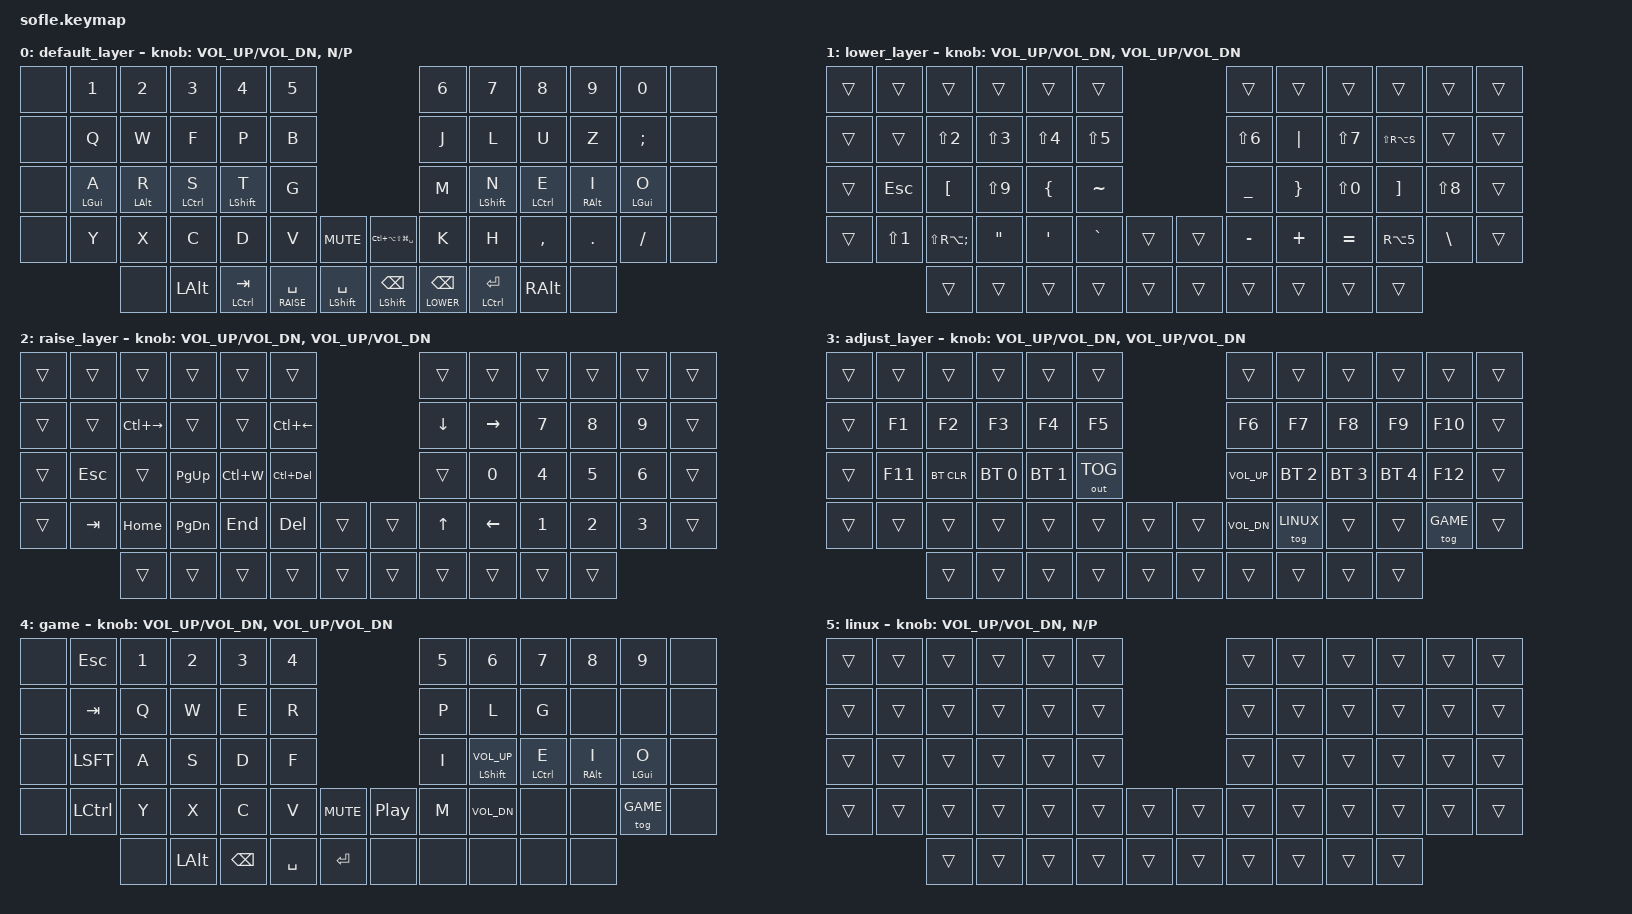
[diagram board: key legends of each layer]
/*
 * Copyright (c) 2020 The ZMK Contributors
 *
 * SPDX-License-Identifier: MIT
 */

#include <behaviors.dtsi>
#include <dt-bindings/zmk/keys.h>
#include <dt-bindings/zmk/outputs.h>
#include <dt-bindings/zmk/bt.h>

#define DEFAULT 0
#define LOWER 1
#define RAISE 2
#define ADJUST 3
#define GAME 4
#define LINUX 5

#define UMLAUT_AQ <25 13>
#define UMLAUT_SF <27 15>
#define UMLAUT_UE <20 32>
#define UMLAUT_OS <34 22>
#define UMLAUT_MAC_LAYERS <0 1 2 3>
#define UMLAUT_LIN_LAYERS <5>

&lt {
    flavor = "tap-preferred";
    quick-tap-ms = <200>;
};
/ {
    conditional_layers {
        compatible = "zmk,conditional-layers";
        tri_layer {
            if-layers = <1 2>;
            then-layer = <3>;
        };
    };
    combos {
        compatible = "zmk,combos";
        #include "umlaut_combos.dtsi"
    };
    behaviors {
        #include "umlaut_macros.dtsi"
        hm: homerow_mods {
            compatible = "zmk,behavior-hold-tap";
            label = "HOMEROW_MODS";
            #binding-cells = <2>;
            tapping-term-ms = <350>;
            quick-tap-ms = <0>;
            flavor = "balanced";
            bindings = <&kp>, <&kp>;
        };
    };
    keymap {
        compatible = "zmk,keymap";

        default_layer {
// ------------------------------------------------------------------------------------------------------------
//                     |     |  1  |  2  |  3  |  4  |  5  |                 |  6  |  7  |  8   |  9  |  0  |     |
//                     |     |  Q  |  W  |  F  |  P  |  B  |                 |  J  |  L  |  U   |  Z  |  ;  |     |
//                     |     |  A  |  R  |  S  |  T  |  G  |                 |  M  |  N  |  E   |  I  |  O  |     |
//                     |     |  Y  |  X  |  C  |  D  |  V  | MUT |     | PLY |  K  |  H  |  ,   |  .  |  /  |     |
//                                 | ___ | ALT | TAB | SPC | SFT |     | CTL | BSP | ENT | RALT | ___ |
            bindings = <
&none  &kp N1     &kp N2     &kp N3      &kp N4        &kp N5                                                     &kp N6         &kp N7         &kp N8      &kp N9     &kp N0     &none
&none  &kp Q      &kp W      &kp F       &kp P         &kp B                                                      &kp J          &kp L          &kp U       &kp Z      &kp SEMI   &none
&none  &hm LGUI A &hm LALT R &hm LCTRL S &hm LSHFT T   &kp G                                                      &kp M          &hm LSHFT N    &hm LCTRL E &hm RALT I &hm LGUI O &none
&none  &kp Y      &kp X      &kp C       &kp D         &kp V           &kp K_MUTE       &kp LC(LA(LS(LG(SPACE)))) &kp K          &kp H          &kp COMMA   &kp DOT    &kp FSLH   &none
                  &none      &kp LALT    &hm LCTRL TAB &lt RAISE SPACE &hm LSHFT SPACE  &hm LSHFT BSPC            &lt LOWER BSPC &hm LCTRL RET  &kp RALT    &none
            >;

            sensor-bindings = <&inc_dec_kp C_VOL_UP C_VOL_DN &inc_dec_kp N P>;
        };

        lower_layer {
// TODO: Some binds are waiting for shifted keycode support.
// ------------------------------------------------------------------------------------------------------------
//                     |     |     |  @  |  #  |  $  |  %  |                 |  ^  |  |  |  &  |  §  |     |     |
//                     |     | ESC |  [  |  (  |  {  |  ~  |                 |  _  |  }  |  )  |  ]  |  *  |     |
//                     |     |  !  |  °  |  "  |  '  |  `  |     |     |     |  -  |  +  |  =  |  €  |  \  |     |

//                                 |     |     |     |     |     |     |     |     |     |     |     |
            bindings = <
// &trans  &trans     &trans           &trans     &trans     &trans                     &trans     &trans     &trans     &trans     &trans     &trans
// &trans  &kp LS(N1) &kp LS(N2)       &kp LS(N3) &kp LS(N4) &kp LS(N5)                 &kp LS(N6) &kp LS(N7) &kp LS(N8) &kp LS(N9) &kp LS(N0) &trans
// &trans  &kp ESC    &kp GRAVE        &kp LBKT   &kp RBKT   &kp PLUS                   &kp PIPE   &kp MINUS  &kp EQUAL  &kp UNDER  &kp RA(N5) &trans
// &trans  &kp TAB    &kp LS(RA(SEMI)) &kp LBRC   &kp RBRC   &kp TILDE  &trans   &trans &trans     &kp SQT    &kp DQT    &trans     &kp BSLH   &trans

&trans  &trans     &trans           &trans     &trans     &trans                      &trans     &trans    &trans     &trans         &trans     &trans
&trans  &trans     &kp LS(N2)       &kp LS(N3) &kp LS(N4) &kp LS(N5)                  &kp LS(N6) &kp PIPE  &kp LS(N7) &kp LS(RA(S))  &trans     &trans
&trans  &kp ESC    &kp LBKT         &kp LS(N9) &kp LBRC   &kp TILDE                   &kp UNDER  &kp RBRC  &kp LS(N0) &kp RBKT       &kp LS(N8) &trans
&trans  &kp LS(N1) &kp LS(RA(SEMI)) &kp DQT    &kp SQT    &kp GRAVE  &trans   &trans  &kp MINUS  &kp PLUS  &kp EQUAL  &kp RA(N5)     &kp BSLH   &trans

                   &trans           &trans     &trans     &trans     &trans   &trans  &trans     &trans    &trans     &trans
            >;

            sensor-bindings = <&inc_dec_kp C_VOL_UP C_VOL_DN &inc_dec_kp C_VOL_UP C_VOL_DN>;
        };

        raise_layer {
// ------------------------------------------------------------------------------------------------------------
//                     |     |     |     |     |     |     |                |     |     |     |     |     |     |
//                     |     |     | WOR |     |     | WOB |                |  v  |  <  |  7  |  8  |  9  |     |
//                     |     | ESC |     | PGD | BSW | DEW |                |     |  0  |  4  |  5  |  6  |     |
//                     |     | TAB | HOM | PGU | END | DEL |      |  |      |  ^  |  >  |  1  |  2  |  3  |     |
//                                 |     |     |     |     |      |  |      |     |     |     |     |
            bindings = <
&trans  &trans   &trans        &trans     &trans    &trans                        &trans    &trans    &trans  &trans &trans  &trans
&trans  &trans   &kp LC(RIGHT) &trans     &trans    &kp LC(LEFT)                  &kp DOWN  &kp RIGHT &kp N7  &kp N8 &kp N9  &trans
&trans  &kp ESC  &trans        &kp PG_UP  &kp LC(W) &kp LC(DEL)                   &trans    &kp N0    &kp N4  &kp N5 &kp N6  &trans
&trans  &kp TAB  &kp HOME      &kp PG_DN  &kp END   &kp DEL       &trans  &trans  &kp UP    &kp LEFT  &kp N1  &kp N2 &kp N3  &trans
                 &trans        &trans     &trans    &trans        &trans  &trans  &trans    &trans    &trans  &trans
            >;

            sensor-bindings = <&inc_dec_kp C_VOL_UP C_VOL_DN &inc_dec_kp C_VOL_UP C_VOL_DN>;
        };

        adjust_layer {
// ------------------------------------------------------------------------------------------------------------
//                     |     |     |     |     |     |     |                |     |     |     |     |     |     |
//                     |     | F1  | F2  | F3  | F4  | F5  |                | F6  | F7  | F8  | F9  | F10 |     |
//                     |     | F11 | btc |noteb|one+ |bt/us|                | V+  |pc   |ipad |steam| F12 |     |
//                     |     |     |     |     |     |     |      |  |      | V-  |     |     |     | LTG |     |
//                                 |     |     |     |     |      |  |      |     |     |     |     |
            bindings = <
&trans  &trans   &trans      &trans       &trans       &trans                      &trans        &trans       &trans       &trans       &trans     &trans
&trans  &kp F1   &kp F2      &kp F3       &kp F4       &kp F5                      &kp F6        &kp F7       &kp F8       &kp F9       &kp F10    &trans
&trans  &kp F11  &bt BT_CLR  &bt BT_SEL 0 &bt BT_SEL 1 &out OUT_TOG                &kp K_VOL_UP  &bt BT_SEL 2 &bt BT_SEL 3 &bt BT_SEL 4 &kp F12    &trans
&trans  &trans   &trans      &trans       &trans       &trans       &trans &trans  &kp K_VOL_DN  &tog LINUX   &trans       &trans       &tog GAME  &trans
                 &trans      &trans       &trans       &trans       &trans &trans  &trans        &trans       &trans       &trans
            >;

            sensor-bindings = <&inc_dec_kp C_VOL_UP C_VOL_DN &inc_dec_kp C_VOL_UP C_VOL_DN>;
        };

        game {
// ------------------------------------------------------------------------------------------------------------
//               |     | `   |  1  |  2  |  3  |  4  |                |  5  |  6  |  7  |  8  |  9  |     |
//               |     | TAB |  Q  |  W  |  E  |  R  |                |  P  |  L  |  G  |     |     |     |
//               |     | LSH |  A  |  S  |  D  |  F  |                |  I  |  V+ |  E  |  I  |  O  |     |
//               |     | CTL |  Y  |  X  |  C  |  V  | MUTE |  | PP   |  M  |  V- |     |     | LTG |     |
//                           |     | ALT | BSP | SPC | RET  |  |      |     |     |     |     |
            bindings = <
&none  &kp ESC    &kp N1  &kp N2   &kp N3    &kp N4                         &kp N5  &kp N6             &kp N7      &kp N8     &kp N9     &none
&none  &kp TAB    &kp Q   &kp W    &kp E     &kp R                          &kp P   &kp L              &kp G       &none      &none      &none
&none  &kp LSFT   &kp A   &kp S    &kp D     &kp F                          &kp I   &hm LSHFT K_VOL_UP &hm LCTRL E &hm RALT I &hm LGUI O &none
&none  &kp LCTRL  &kp Y   &kp X    &kp C     &kp V     &kp K_MUTE &kp C_PP  &kp M   &kp K_VOL_DN       &none       &none      &tog GAME  &none
                  &none   &kp LALT &kp BSPC  &kp SPACE &kp RET    &none     &none   &none              &none       &none
            >;

            sensor-bindings = <&inc_dec_kp C_VOL_UP C_VOL_DN &inc_dec_kp C_VOL_UP C_VOL_DN>;
        };

        linux {
            bindings = <
&trans &trans &trans &trans &trans &trans         &trans &trans &trans &trans &trans &trans
&trans &trans &trans &trans &trans &trans         &trans &trans &trans &trans &trans &trans
&trans &trans &trans &trans &trans &trans         &trans &trans &trans &trans &trans &trans
&trans &trans &trans &trans &trans &trans &trans  &trans &trans &trans &trans &trans &trans &trans
       &trans &trans &trans &trans &trans         &trans &trans &trans &trans &trans
            >;

            sensor-bindings = <&inc_dec_kp C_VOL_UP C_VOL_DN &inc_dec_kp N P>;
        };
    };
};
